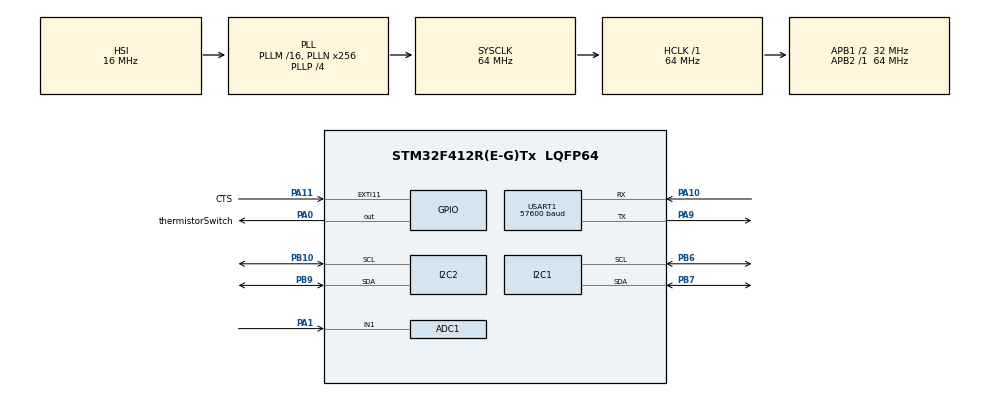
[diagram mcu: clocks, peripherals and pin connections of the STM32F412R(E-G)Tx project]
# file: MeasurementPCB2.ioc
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ADC1.Channel-0\#ChannelRegularConversion=ADC_CHANNEL_1
ADC1.ClockPrescaler=ADC_CLOCK_SYNC_PCLK_DIV8
ADC1.ContinuousConvMode=DISABLE
ADC1.NbrOfConversionFlag=1
ADC1.Rank-0\#ChannelRegularConversion=1
ADC1.SamplingTime-0\#ChannelRegularConversion=ADC_SAMPLETIME_3CYCLES
ADC1.master=1
FREERTOS.HEAP_NUMBER=4
FREERTOS.Tasks01=Empty,-3,128,StartEmpty,Default,NULL,Dynamic,NULL,NULL;Accelerometer,3,12800,startAccelerometer,Default,NULL,Dynamic,NULL,NULL;Humidity,-2,512,startHumidity,Default,NULL,Dynamic,NULL,NULL;Temperature,0,512,startTemperature,Default,NULL,Dynamic,NULL,NULL
FREERTOS.configENABLE_FPU=1
FREERTOS.configMINIMAL_STACK_SIZE=128
FREERTOS.configTICK_RATE_HZ=1000
FREERTOS.configTOTAL_HEAP_SIZE=64000
FREERTOS.configUSE_NEWLIB_REENTRANT=1
I2C1.I2C_Mode=I2C_Fast
I2C2.I2C_Mode=I2C_Fast
Mcu.Family=STM32F4
Mcu.Name=STM32F412R(E-G)Tx
Mcu.Package=LQFP64
NVIC.EXTI15_10_IRQn=true\:5\:0\:false\:false\:true\:true\:true\:true\:true
NVIC.PriorityGroup=NVIC_PRIORITYGROUP_4
NVIC.TIM1_UP_TIM10_IRQn=true\:15\:0\:false\:false\:true\:false\:false\:true\:true
NVIC.TimeBase=TIM1_UP_TIM10_IRQn
NVIC.TimeBaseIP=TIM1
PA0.GPIO_Label=thermistorSwitch
PA0.GPIO_PuPd=GPIO_NOPULL
PA0.GPIO_Speed=GPIO_SPEED_FREQ_HIGH
PA0.PinState=GPIO_PIN_RESET
PA0.Signal=GPIO_Output
PA1.Signal=ADCx_IN1
PA10.Mode=Asynchronous
PA10.Signal=USART1_RX
PA11.GPIO_Label=CTS
PA11.GPIO_ModeDefaultEXTI=GPIO_MODE_IT_RISING
PA11.GPIO_PuPd=GPIO_NOPULL
PA11.Signal=GPXTI11
PA13.Mode=JTAG_5_pins
PA13.Signal=SYS_JTMS-SWDIO
PA14.Mode=JTAG_5_pins
PA14.Signal=SYS_JTCK-SWCLK
PA15.Mode=JTAG_5_pins
PA15.Signal=SYS_JTDI
PA9.Mode=Asynchronous
PA9.Signal=USART1_TX
PB10.Mode=I2C
PB10.Signal=I2C2_SCL
PB3.Mode=JTAG_5_pins
PB3.Signal=SYS_JTDO-SWO
PB4.Mode=JTAG_5_pins
PB4.Signal=SYS_JTRST
PB6.Mode=I2C
PB6.Signal=I2C1_SCL
PB7.Mode=I2C
PB7.Signal=I2C1_SDA
PB9.Mode=I2C
PB9.Signal=I2C2_SDA
PH0\ -\ OSC_IN.Mode=HSE-External-Oscillator
PH0\ -\ OSC_IN.Signal=RCC_OSC_IN
PH1\ -\ OSC_OUT.Mode=HSE-External-Oscillator
PH1\ -\ OSC_OUT.Signal=RCC_OSC_OUT
ProjectManager.HeapSize=0x200
ProjectManager.StackSize=0x400
ProjectManager.TargetToolchain=STM32CubeIDE
RCC.AHBFreq_Value=64000000
RCC.APB1CLKDivider=RCC_HCLK_DIV2
RCC.APB1Freq_Value=32000000
RCC.APB1TimFreq_Value=64000000
RCC.APB2Freq_Value=64000000
RCC.APB2TimFreq_Value=64000000
RCC.CortexFreq_Value=64000000
RCC.HCLKFreq_Value=64000000
RCC.PLLN=256
RCC.PLLP=RCC_PLLP_DIV4
RCC.RCC_MCO1Source=RCC_MCO1SOURCE_PLLCLK
RCC.RCC_MCODiv1=RCC_MCODIV_5
RCC.SYSCLKFreq_VALUE=64000000
RCC.SYSCLKSource=RCC_SYSCLKSOURCE_PLLCLK
RCC.USBFreq_Value=128000000
RCC.VCOOutputFreq_Value=256000000
SH.ADCx_IN1.0=ADC1_IN1,IN1
USART1.BaudRate=57600
USART1.VirtualMode=VM_ASYNC
VP_FREERTOS_VS_CMSIS_V1.Mode=CMSIS_V1
VP_SYS_VS_tim1.Mode=TIM1
board=custom

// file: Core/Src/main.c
/* USER CODE BEGIN Header */
/**
 ******************************************************************************
 * @file           : main.c
 * @brief          : Main program body
 ******************************************************************************
 * @attention
 *
 * Copyright (c) 2022 STMicroelectronics.
 * All rights reserved.
 *
 * This software is licensed under terms that can be found in the LICENSE file
 * in the root directory of this software component.
 * If no LICENSE file comes with this software, it is provided AS-IS.
 *
 ******************************************************************************
 */
/* USER CODE END Header */
#include "main.h"
#include "cmsis_os.h"
#include "adc.h"
#include "i2c.h"
#include "usart.h"
#include "gpio.h"

/* USER CODE BEGIN Includes */
#include "definesMeas.h"
#include "variablesMeas.h"
#include <string.h>
#include <stdio.h>
#include <stdlib.h>
#include <math.h>
/* USER CODE END Includes */

/* USER CODE BEGIN PTD */
HAL_StatusTypeDef ret;
/* USER CODE END PTD */

void SystemClock_Config(void);
void MX_FREERTOS_Init(void);

int main(void)
{

  /* MCU Configuration--------------------------------------------------------*/

  /* Reset of all peripherals, Initializes the Flash interface and the Systick. */
  HAL_Init();

  /* Configure the system clock */
  SystemClock_Config();

  /* Initialize all configured peripherals */
  MX_GPIO_Init();
  MX_I2C1_Init();
  MX_USART1_UART_Init();
  MX_I2C2_Init();
  MX_ADC1_Init();

  /* Call init function for freertos objects (in freertos.c) */
  MX_FREERTOS_Init();

  /* Start scheduler */
  osKernelStart();
  /* We should never get here as control is now taken by the scheduler */
  /* Infinite loop */
	while (1)
	{

	}
}

void SystemClock_Config(void)
{
  RCC_OscInitTypeDef RCC_OscInitStruct = {0};
  RCC_ClkInitTypeDef RCC_ClkInitStruct = {0};

  /** Configure the main internal regulator output voltage
  */
  __HAL_RCC_PWR_CLK_ENABLE();
  __HAL_PWR_VOLTAGESCALING_CONFIG(PWR_REGULATOR_VOLTAGE_SCALE1);

  /** Initializes the RCC Oscillators according to the specified parameters
  * in the RCC_OscInitTypeDef structure.
  */
  RCC_OscInitStruct.OscillatorType = RCC_OSCILLATORTYPE_HSI;
  RCC_OscInitStruct.HSIState = RCC_HSI_ON;
  RCC_OscInitStruct.HSICalibrationValue = RCC_HSICALIBRATION_DEFAULT;
  RCC_OscInitStruct.PLL.PLLState = RCC_PLL_ON;
  RCC_OscInitStruct.PLL.PLLSource = RCC_PLLSOURCE_HSI;
  RCC_OscInitStruct.PLL.PLLM = 16;
  RCC_OscInitStruct.PLL.PLLN = 256;
  RCC_OscInitStruct.PLL.PLLP = RCC_PLLP_DIV4;
  RCC_OscInitStruct.PLL.PLLQ = 2;
  RCC_OscInitStruct.PLL.PLLR = 2;
  if (HAL_RCC_OscConfig(&RCC_OscInitStruct) != HAL_OK)
  {
    Error_Handler();
  }

  /** Initializes the CPU, AHB and APB buses clocks
  */
  RCC_ClkInitStruct.ClockType = RCC_CLOCKTYPE_HCLK|RCC_CLOCKTYPE_SYSCLK
                              |RCC_CLOCKTYPE_PCLK1|RCC_CLOCKTYPE_PCLK2;
  RCC_ClkInitStruct.SYSCLKSource = RCC_SYSCLKSOURCE_PLLCLK;
  RCC_ClkInitStruct.AHBCLKDivider = RCC_SYSCLK_DIV1;
  RCC_ClkInitStruct.APB1CLKDivider = RCC_HCLK_DIV2;
  RCC_ClkInitStruct.APB2CLKDivider = RCC_HCLK_DIV1;

  if (HAL_RCC_ClockConfig(&RCC_ClkInitStruct, FLASH_LATENCY_1) != HAL_OK)
  {
    Error_Handler();
  }
}

/* USER CODE BEGIN 4 */
float complexABS(float real, float compl) {
	return sqrtf((real*real)+(compl*compl));
}

void HAL_GPIO_EXTI_Callback(uint16_t GPIO_Pin){
	if(GPIO_Pin == GPIO_PIN_11) {
		sprintf((char *)UART_trans, "#MU,%5.2f,%6.2f,%6.2f,%d", ampMax, freq, temp, humAlarm);
		ret = HAL_UART_Transmit(&huart1, UART_trans, sizeof(UART_trans), 1000);
		__NOP();
	}
}
/* USER CODE END 4 */

void HAL_TIM_PeriodElapsedCallback(TIM_HandleTypeDef *htim)
{
  if (htim->Instance == TIM1) {
    HAL_IncTick();
  }
}

void Error_Handler(void)
{
	__disable_irq();
	while (1)
	{
	}
}

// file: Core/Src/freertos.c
/* USER CODE BEGIN Header */
/**
 ******************************************************************************
 * File Name          : freertos.c
 * Description        : Code for freertos applications
 ******************************************************************************
 * @attention
 *
 * Copyright (c) 2022 STMicroelectronics.
 * All rights reserved.
 *
 * This software is licensed under terms that can be found in the LICENSE file
 * in the root directory of this software component.
 * If no LICENSE file comes with this software, it is provided AS-IS.
 *
 ******************************************************************************
 */
/* USER CODE END Header */

#include "FreeRTOS.h"
#include "task.h"
#include "main.h"
#include "cmsis_os.h"

/* USER CODE BEGIN Includes */
#include "definesMeas.h"
#include "variablesMeas.h"
#include "i2c.h"
#include "usart.h"
#include "adc.h"
#include "gpio.h"
#include <string.h>
#include <stdio.h>
#include <stdlib.h>
#include <math.h>
#include "arm_math.h"
/* USER CODE END Includes */

/* USER CODE BEGIN PTD */
arm_rfft_fast_instance_f32 S;
arm_cfft_radix4_instance_f32 L;    /* ARM CFFT module */
/* USER CODE END PTD */

osThreadId EmptyHandle;
osThreadId AccelerometerHandle;
osThreadId HumidityHandle;
osThreadId TemperatureHandle;

void StartEmpty(void const * argument);
void startAccelerometer(void const * argument);
void startHumidity(void const * argument);
void startTemperature(void const * argument);

void MX_FREERTOS_Init(void); /* (MISRA C 2004 rule 8.1) */

/* GetIdleTaskMemory prototype (linked to static allocation support) */
void vApplicationGetIdleTaskMemory( StaticTask_t **ppxIdleTaskTCBBuffer, StackType_t **ppxIdleTaskStackBuffer, uint32_t *pulIdleTaskStackSize );

/* USER CODE BEGIN GET_IDLE_TASK_MEMORY */
static StaticTask_t xIdleTaskTCBBuffer;
static StackType_t xIdleStack[configMINIMAL_STACK_SIZE];

void vApplicationGetIdleTaskMemory( StaticTask_t **ppxIdleTaskTCBBuffer, StackType_t **ppxIdleTaskStackBuffer, uint32_t *pulIdleTaskStackSize )
{
	*ppxIdleTaskTCBBuffer = &xIdleTaskTCBBuffer;
	*ppxIdleTaskStackBuffer = &xIdleStack[0];
	*pulIdleTaskStackSize = configMINIMAL_STACK_SIZE;
	/* place for user code */
}
/* USER CODE END GET_IDLE_TASK_MEMORY */

void MX_FREERTOS_Init(void) {
  /* USER CODE BEGIN Init */
	/*initialize humidity module (I2C)*/
	//Check if device is connected
	if((ret = HAL_I2C_IsDeviceReady(&hi2c2, SHT31_ADDR, 1, HAL_MAX_DELAY)) != HAL_OK){
		//error handler
		NVIC_SystemReset();
		for(;;);
	}
	//Disable heater
	I2C_trans[0] = SHT31_HEATER_First;
	I2C_trans[1] = SHT31_HEATER_Second;
	if((ret = HAL_I2C_Master_Transmit(&hi2c2, SHT31_ADDR, I2C_trans, 2, HAL_MAX_DELAY)) != HAL_OK){
		//error handler
		NVIC_SystemReset();
		for(;;);
	}
	/*Initialize accelerometer module (I2C)*/
	//check if device is connected
	if((ret = HAL_I2C_IsDeviceReady(&hi2c1, LIS2_ADDR, 1, HAL_MAX_DELAY)) != HAL_OK){
		//error handler
		NVIC_SystemReset();
		for(;;);
	}
	//Write setting to control register 1
	I2C_trans[0] = LIS2_CTRL1_ADDR;
	I2C_trans[1] = LIS2_CTRL1_Write;
	if((ret = HAL_I2C_Master_Transmit(&hi2c1, LIS2_ADDR, I2C_trans, 2, HAL_MAX_DELAY)) != HAL_OK){
		//error handler
		NVIC_SystemReset();
		for(;;);
	}
	//Write setting to FIFO register
	I2C_trans[0] = LIS2_FIFO_ADDR;
	I2C_trans[1] = LIS2_FIFO_Write;
	if((ret = HAL_I2C_Master_Transmit(&hi2c1, LIS2_ADDR, I2C_trans, 2, HAL_MAX_DELAY)) != HAL_OK){
		//error handler
		NVIC_SystemReset();
		for(;;);
	}

	//Initialize DSP functions
	arm_rfft_fast_init_f32(&S, FFT_SIZE);
	/* Initialize the CFFT/CIFFT module, intFlag = 0, doBitReverse = 1 */
	arm_cfft_radix4_init_f32(&L, FFT_SIZE, 0, 1);
  /* USER CODE END Init */

  /* Create the thread(s) */
  /* definition and creation of Empty */
  osThreadDef(Empty, StartEmpty, osPriorityIdle, 0, 128);
  EmptyHandle = osThreadCreate(osThread(Empty), NULL);

  /* definition and creation of Accelerometer */
  osThreadDef(Accelerometer, startAccelerometer, osPriorityRealtime, 0, 12800);
  AccelerometerHandle = osThreadCreate(osThread(Accelerometer), NULL);

  /* definition and creation of Humidity */
  osThreadDef(Humidity, startHumidity, osPriorityLow, 0, 512);
  HumidityHandle = osThreadCreate(osThread(Humidity), NULL);

  /* definition and creation of Temperature */
  osThreadDef(Temperature, startTemperature, osPriorityNormal, 0, 512);
  TemperatureHandle = osThreadCreate(osThread(Temperature), NULL);

}

void StartEmpty(void const * argument)
{
  /* USER CODE BEGIN StartEmpty */
	/* Infinite loop */
	for(;;)
	{
		osDelay(1);
	}
	// In case we accidentally leave loop
	osThreadTerminate(NULL);
  /* USER CODE END StartEmpty */
}

void startAccelerometer(void const * argument)
{
  /* USER CODE BEGIN startAccelerometer */
	int16_t rawZaxis[FFT_SIZE];

	int16_t maxValueAxis;

	float32_t Input[SAMPLES];
	float32_t Output[FFT_SIZE];
	uint16_t x = 0;

	uint32_t maxIndex;
	float32_t maxValue;
	/* Infinite loop */
	for(;;)
	{
		if(I2C_lock == 0){
			//Z axis
			I2C_trans[0] = LIS2_OUTZH;
			if((ret = HAL_I2C_Master_Transmit(&hi2c1, LIS2_ADDR, &I2C_trans[0], 1, HAL_MAX_DELAY)) != HAL_OK){
				//error handler
				do{
					vTaskDelay(1000);
					ret = HAL_I2C_Master_Transmit(&hi2c1, LIS2_ADDR, &I2C_trans[0], 1, HAL_MAX_DELAY);
				}while(ret != HAL_OK);
			}
			if((ret = HAL_I2C_Master_Receive(&hi2c1, LIS2_ADDR, &I2C_recv[0], 1, HAL_MAX_DELAY)) != HAL_OK){
				//error handler
				for(;;);
			}
			rawZaxis[x] = I2C_recv[0] << 8;

			I2C_trans[0] = LIS2_OUTZL;
			if((ret = HAL_I2C_Master_Transmit(&hi2c1, LIS2_ADDR, &I2C_trans[0], 1, HAL_MAX_DELAY)) != HAL_OK){
				//error handler
				for(;;);
			}
			if((ret = HAL_I2C_Master_Receive(&hi2c1, LIS2_ADDR, &I2C_recv[0], 1, HAL_MAX_DELAY)) != HAL_OK){
				//error handler
				for(;;);
			}
			rawZaxis[x] = (rawZaxis[x] | I2C_recv[0])/4;//14 bit divide by 4, 12 bit divide by 16
			x++;
			if(x > FFT_SIZE-1){
				maxValueAxis = 0;
				// Storing the largest number
				for (int i = 1; i < x; i++) {
					if(maxValueAxis < rawZaxis[i]){
						maxValueAxis = rawZaxis[i];
					}
				}
				// Calculate amplitude in G with acceleration of z axis with 4G scale and 14 bit data length
				ampMax = (maxValueAxis * 0.488)/1000;
				x = 0;

				// DSP functionality
				for(int i = 0; i < SAMPLES; i += 2){
					/* Real part */
					Input[(uint16_t)i] = (float32_t)rawZaxis[x];
					/* Imaginary part */
					Input[(uint16_t)(i + 1)] = 0;
					x++;
				}
				x = 0;
				/* Process the data through the CFFT/CIFFT module */
				arm_cfft_radix4_f32(&L, Input);
				/* Process the data through the Complex Magnitude Module for calculating the magnitude at each bin */
				arm_cmplx_mag_f32(Input, Output, FFT_SIZE);
				Output[0] = 0;
				/* Calculates maxValue and returns corresponding value */
				arm_max_f32(Output, FFT_SIZE, &maxValue, &maxIndex);
				//calculate frequency.
				if(maxIndex >= 512){
					maxIndex = 0;
				}
				freq = (500/(float)(FFT_SIZE)) * (float)maxIndex;
				x = 0;
			}
		}
		osDelay(2);
	}
	// In case we accidentally leave loop
	osThreadTerminate(NULL);
  /* USER CODE END startAccelerometer */
}

void startHumidity(void const * argument)
{
  /* USER CODE BEGIN startHumidity */
	uint16_t val;
	float hum_rh;
	float temp_c;
	/* Infinite loop */
	for(;;)
	{
		I2C_trans[0] = 0x2C;
		I2C_trans[1] = 0x10;

		I2C_lock = 1;
		if((ret = HAL_I2C_Master_Transmit(&hi2c2, SHT31_ADDR, I2C_trans, 2, HAL_MAX_DELAY)) != HAL_OK){
			//error handler
			for(;;);
		}
		if((ret = HAL_I2C_Master_Receive(&hi2c2, SHT31_ADDR, I2C_recv, 10, HAL_MAX_DELAY)) != HAL_OK){
			//error handler
			for(;;);
		}
		I2C_lock = 0;
		val = I2C_recv[0] << 8 | I2C_recv[1];
		temp_c = -45+(175*(val/((pow(2,16))-1)));
		val = 0;
		val = I2C_recv[3] << 8 | I2C_recv[4];
		hum_rh = 100*(val/((pow(2,16))-1));
		if(hum_rh >= 75){
			humAlarm = 1;
		}
		osDelay(1000);
	}
	// In case we accidentally leave loop
	osThreadTerminate(NULL);
  /* USER CODE END startHumidity */
}

void startTemperature(void const * argument)
{
  /* USER CODE BEGIN startTemperature */
	uint32_t rawValue;
	float voltage = 0;
	float resistance = 0;
	/* Infinite loop */
	for(;;)
	{
		HAL_GPIO_WritePin(GPIOA, GPIO_PIN_0, GPIO_PIN_SET);
		vTaskDelay(100);
		HAL_ADC_Start(&hadc1);
		HAL_ADC_PollForConversion(&hadc1, HAL_MAX_DELAY);
		rawValue = HAL_ADC_GetValue(&hadc1);
		voltage = (VOLTAGE*rawValue)/RESOLUTION;
		resistance = (voltage*RESISTANCE)/(VOLTAGE-voltage);
		temp = (1/(A + (B*log(resistance)) + (C*pow(log(resistance),2)) + (D*pow(log(resistance),3)))) - KELVIN;
		HAL_GPIO_WritePin(GPIOA, GPIO_PIN_0, GPIO_PIN_RESET);
		osDelay(400);
	}
	// In case we accidentally leave loop
	osThreadTerminate(NULL);
  /* USER CODE END startTemperature */
}
